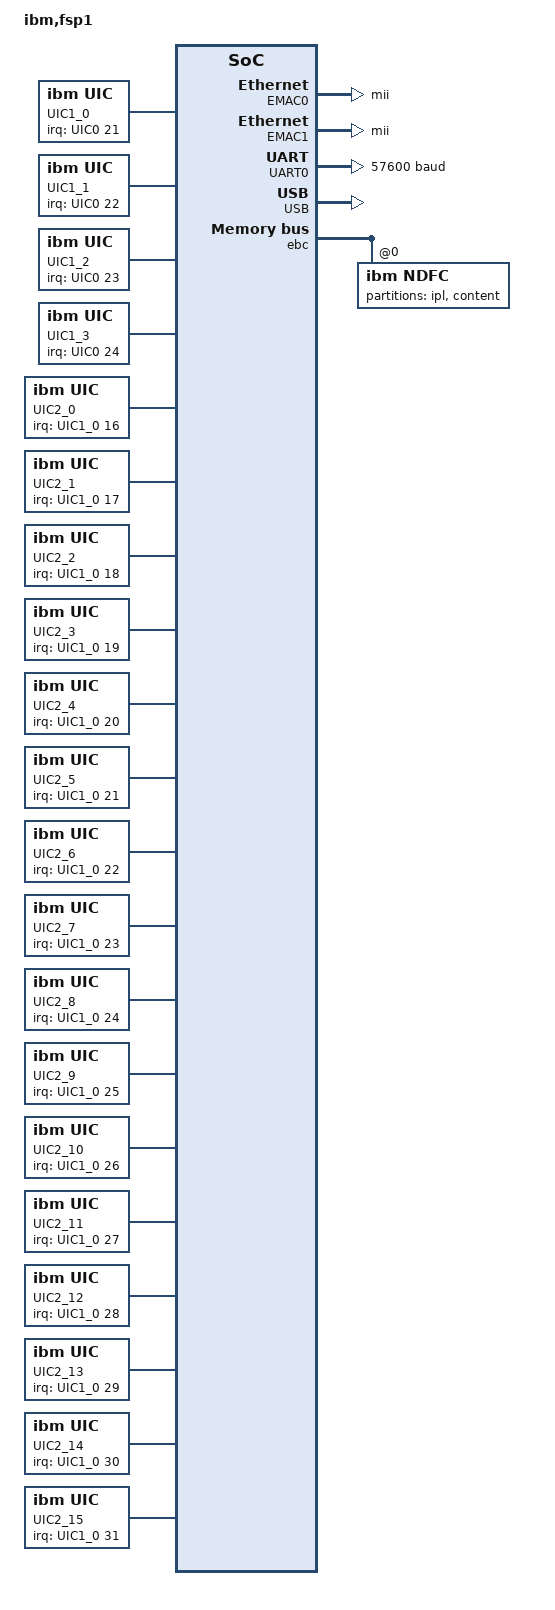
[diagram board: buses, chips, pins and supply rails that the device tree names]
/*
 *   Copyright (c) International Business Machines Corp., 2010, 2011
 *
 *   This program is free software;  you can redistribute it and/or modify
 *   it under the terms of the GNU General Public License as published by
 *   the Free Software Foundation; either version 2 of the License, or
 *   (at your option) any later version.
 *
 *   This program is distributed in the hope that it will be useful,
 *   but WITHOUT ANY WARRANTY;  without even the implied warranty of
 *   MERCHANTABILITY or FITNESS FOR A PARTICULAR PURPOSE.  See
 *   the GNU General Public License for more details.
 *
 *   You should have received a copy of the GNU General Public License
 *   along with this program;  if not, write to the Free Software
 *   Foundation, Inc., 59 Temple Place, Suite 330, Boston, MA 02111-1307 USA
 */

/dts-v1/;

/ {
	#address-cells = <2>;
	#size-cells = <1>;
	model = "ibm,fsp1";
	compatible = "ibm,fsp1";
	dcr-parent = <&{/cpus/cpu@0}>;

	aliases {
		ethernet0 = &EMAC0;
		ethernet1 = &EMAC1;
		serial0 = &UART0;
	};

	cpus {
		#address-cells = <1>;
		#size-cells = <0>;

		cpu@0 {
			device_type = "cpu";
			model = "PowerPC, 440FSP1";
			reg = <0x0>;
			clock-frequency = <500000000>; /* 500 MHz */
			timebase-frequency = <166666667>; /* 166 MHz */
			i-cache-line-size = <32>;
			d-cache-line-size = <32>;
			d-cache-size = <32768>;
			i-cache-size = <32768>;
			dcr-controller;
			dcr-access-method = "native";
		};
	};

	UIC0: uic0 {
		#address-cells = <0>;
		#size-cells = <0>;
		#interrupt-cells = <2>;
		compatible = "ibm,uic";
		interrupt-controller;
		cell-index = <0>;
		dcr-reg = <0x2c0 0x8>;
	};

	/* "interrupts" field is <bit level bit level>
	   first pair is non-critical, second is critical */
	UIC1_0: uic1_0 {
		#address-cells = <0>;
		#size-cells = <0>;
		#interrupt-cells = <2>;
		compatible = "ibm,uic";
		interrupt-controller;
		cell-index = <1>;
		dcr-reg = <0x2c8 0x8>;
		interrupt-parent = <&UIC0>;
		interrupts = <21 0x4 4 0x84>;
	};

	/* PSI and DMA */
	UIC1_1: uic1_1 {
		#address-cells = <0>;
		#size-cells = <0>;
		#interrupt-cells = <2>;
		compatible = "ibm,uic";
		interrupt-controller;
		cell-index = <2>;
		dcr-reg = <0x350 0x8>;
		interrupt-parent = <&UIC0>;
		interrupts = <22 0x4 5 0x84>;
	};

	/* Ethernet and USB */
	UIC1_2: uic1_2 {
		#address-cells = <0>;
		#size-cells = <0>;
		#interrupt-cells = <2>;
		compatible = "ibm,uic";
		interrupt-controller;
		cell-index = <3>;
		dcr-reg = <0x358 0x8>;
		interrupt-parent = <&UIC0>;
		interrupts = <23 0x4 6 0x84>;
	};

	/* Reserved for future use */
	UIC1_3: uic1_3 {
		#address-cells = <0>;
		#size-cells = <0>;
		#interrupt-cells = <2>;
		compatible = "ibm,uic";
		interrupt-controller;
		cell-index = <4>;
		dcr-reg = <0x360 0x8>;
		interrupt-parent = <&UIC0>;
		interrupts = <24 0x4 7 0x84>;
	};

	/* 2nd level UICs for FSI */
	UIC2_0: interrupt-controller2_0 {
		#address-cells = <0>;
		#size-cells = <0>;
		#interrupt-cells = <2>;
		compatible = "ibm,uic";
		interrupt-controller;
		cell-index = <5>;
		dcr-reg = <0x2d0 0x8>;
		interrupt-parent = <&UIC1_0>;
		interrupts = <16 0x4 0 0x84>;
	};

	UIC2_1: uic2_1 {
		#address-cells = <0>;
		#size-cells = <0>;
		#interrupt-cells = <2>;
		compatible = "ibm,uic";
		interrupt-controller;
		cell-index = <6>;
		dcr-reg = <0x2d8 0x8>;
		interrupt-parent = <&UIC1_0>;
		interrupts = <17 0x4 1 0x84>;
	};

	UIC2_2: uic2_2 {
		#address-cells = <0>;
		#size-cells = <0>;
		#interrupt-cells = <2>;
		compatible = "ibm,uic";
		interrupt-controller;
		cell-index = <7>;
		dcr-reg = <0x2e0 0x8>;
		interrupt-parent = <&UIC1_0>;
		interrupts = <18 0x4 2 0x84>;
	};

	UIC2_3: uic2_3 {
		#address-cells = <0>;
		#size-cells = <0>;
		#interrupt-cells = <2>;
		compatible = "ibm,uic";
		interrupt-controller;
		cell-index = <8>;
		dcr-reg = <0x2e8 0x8>;
		interrupt-parent = <&UIC1_0>;
		interrupts = <19 0x4 3 0x84>;
	};

	UIC2_4: uic2_4 {
		#address-cells = <0>;
		#size-cells = <0>;
		#interrupt-cells = <2>;
		compatible = "ibm,uic";
		interrupt-controller;
		cell-index = <9>;
		dcr-reg = <0x2f0 0x8>;
		interrupt-parent = <&UIC1_0>;
		interrupts = <20 0x4 4 0x84>;
	};

	UIC2_5: uic2_5 {
		#address-cells = <0>;
		#size-cells = <0>;
		#interrupt-cells = <2>;
		compatible = "ibm,uic";
		interrupt-controller;
		cell-index = <10>;
		dcr-reg = <0x2f8 0x8>;
		interrupt-parent = <&UIC1_0>;
		interrupts = <21 0x4 5 0x84>;
	};

	UIC2_6: uic2_6 {
		#address-cells = <0>;
		#size-cells = <0>;
		#interrupt-cells = <2>;
		compatible = "ibm,uic";
		interrupt-controller;
		cell-index = <11>;
		dcr-reg = <0x300 0x8>;
		interrupt-parent = <&UIC1_0>;
		interrupts = <22 0x4 6 0x84>;
	};

	UIC2_7: uic2_7 {
		#address-cells = <0>;
		#size-cells = <0>;
		#interrupt-cells = <2>;
		compatible = "ibm,uic";
		interrupt-controller;
		cell-index = <12>;
		dcr-reg = <0x308 0x8>;
		interrupt-parent = <&UIC1_0>;
		interrupts = <23 0x4 7 0x84>;
	};

	UIC2_8: uic2_8 {
		#address-cells = <0>;
		#size-cells = <0>;
		#interrupt-cells = <2>;
		compatible = "ibm,uic";
		interrupt-controller;
		cell-index = <13>;
		dcr-reg = <0x310 0x8>;
		interrupt-parent = <&UIC1_0>;
		interrupts = <24 0x4 8 0x84>;
	};

	UIC2_9: uic2_9 {
		#address-cells = <0>;
		#size-cells = <0>;
		#interrupt-cells = <2>;
		compatible = "ibm,uic";
		interrupt-controller;
		cell-index = <14>;
		dcr-reg = <0x318 0x8>;
		interrupt-parent = <&UIC1_0>;
		interrupts = <25 0x4 9 0x84>;
	};

	UIC2_10: uic2_10 {
		#address-cells = <0>;
		#size-cells = <0>;
		#interrupt-cells = <2>;
		compatible = "ibm,uic";
		interrupt-controller;
		cell-index = <15>;
		dcr-reg = <0x320 0x8>;
		interrupt-parent = <&UIC1_0>;
		interrupts = <26 0x4 10 0x84>;
	};

	UIC2_11: uic2_11 {
		#address-cells = <0>;
		#size-cells = <0>;
		#interrupt-cells = <2>;
		compatible = "ibm,uic";
		interrupt-controller;
		cell-index = <16>;
		dcr-reg = <0x328 0x8>;
		interrupt-parent = <&UIC1_0>;
		interrupts = <27 0x4 11 0x84>;
	};

	UIC2_12: uic2_12 {
		#address-cells = <0>;
		#size-cells = <0>;
		#interrupt-cells = <2>;
		compatible = "ibm,uic";
		interrupt-controller;
		cell-index = <17>;
		dcr-reg = <0x330 0x8>;
		interrupt-parent = <&UIC1_0>;
		interrupts = <28 0x4 12 0x84>;
	};

	UIC2_13: uic2_13 {
		#address-cells = <0>;
		#size-cells = <0>;
		#interrupt-cells = <2>;
		compatible = "ibm,uic";
		interrupt-controller;
		cell-index = <18>;
		dcr-reg = <0x338 0x8>;
		interrupt-parent = <&UIC1_0>;
		interrupts = <29 0x4 13 0x84>;
	};

	UIC2_14: uic2_14 {
		#address-cells = <0>;
		#size-cells = <0>;
		#interrupt-cells = <2>;
		compatible = "ibm,uic";
		interrupt-controller;
		cell-index = <19>;
		dcr-reg = <0x340 0x8>;
		interrupt-parent = <&UIC1_0>;
		interrupts = <30 0x4 14 0x84>;
	};

	UIC2_15: uic2_15 {
		#address-cells = <0>;
		#size-cells = <0>;
		#interrupt-cells = <2>;
		compatible = "ibm,uic";
		interrupt-controller;
		cell-index = <20>;
		dcr-reg = <0x348 0x8>;
		interrupt-parent = <&UIC1_0>;
		interrupts = <31 0x4 15 0x84>;
	};

	plb {
		compatible = "ibm,plb4";
		#address-cells = <2>;
		#size-cells = <1>;
		ranges;
		clock-frequency = <166666667>;

		/* Even though the RTC isn't on the plb, it won't be seen
		   unless it's a child node of the plb */
		RTC: rtc {
			device_type = "rtc";
			compatible = "ibm,rtc-fsp1";
			/* point it at the CMU, the RTC code knows how to do the
			indirect addressing required */
			dcr-reg = <0xc 0x2>;
			interrupt-parent = <&UIC0>;
			/* RTC compare interrupts 0 1 2 */
			interrupts = <28 0x4 29 0x4 30 0x4>;
		};

		buddy-reset-irq {
			compatible = "ibm,buddy-reset-irq";

			#interrupt-cells = <2>;
			interrupt-parent = <&UIC1_3>;
			interrupts = <3 0x84>;
		};

		plb-read-error-irq {
			compatible = "ibm,bus-error-irq";

			#interrupt-cells = <2>;
			interrupt-parent = <&UIC0>;
			interrupts = <0 0x81>;
		};

		plb-write-error-irq {
			compatible = "ibm,bus-error-irq";

			#interrupt-cells = <2>;
			interrupt-parent = <&UIC0>;
			interrupts = <1 0x81>;
		};

		plb-opb0-error-irq {
			compatible = "ibm,bus-error-irq";

			#interrupt-cells = <2>;
			interrupt-parent = <&UIC0>;
			interrupts = <15 0x84>;
		};

		plb-opb1-error-irq {
			compatible = "ibm,bus-error-irq";

			#interrupt-cells = <2>;
			interrupt-parent = <&UIC0>;
			interrupts = <16 0x84>;
		};

		plb-opb2-error-irq {
			compatible = "ibm,bus-error-irq";

			#interrupt-cells = <2>;
			interrupt-parent = <&UIC0>;
			interrupts = <17 0x84>;
		};

		plb-opb3-error-irq {
			compatible = "ibm,bus-error-irq";

			#interrupt-cells = <2>;
			interrupt-parent = <&UIC0>;
			interrupts = <18 0x84>;
		};

		opb-plb-error-irq {
			compatible = "ibm,bus-error-irq";

			#interrupt-cells = <2>;
			interrupt-parent = <&UIC0>;
			interrupts = <19 0x84>;
		};

		eddr2 {
			compatible = "ibm,eddr2";

			dcr-reg = <0x8 0x2>;

			#interrupt-cells = <2>;
			interrupt-parent = <&UIC0>;
			interrupts = </* UE */      8  0x84
				      /* CE */      11 0x4
				      /* SIE_UE */  12 0x84
				      /* SIE_CE */  13 0x4
				      /* SIE_OC */  14 0x4>;
		};

		MAL0: mcmal0 {
			#interrupt-cells = <1>;
			#address-cells = <0>;
			#size-cells = <0>;
			compatible = "ibm,mcmal";
			dcr-reg = <0x80 0x80>;
			num-tx-chans = <1>;
			num-rx-chans = <1>;
			interrupt-parent = <&MAL0>;
			interrupts = <0 1 2 3 4>;
			/* index interrupt-parent interrupt# type */
			interrupt-map = </*TXEOB*/ 0 &UIC1_2 4 0x4
					 /*RXEOB*/ 1 &UIC1_2 3 0x4
					 /*SERR*/  2 &UIC1_2 7 0x4
					 /*TXDE*/  3 &UIC1_2 5 0x4
					 /*RXDE*/  4 &UIC1_2 6 0x4>;
		};

		MAL1: mcmal1 {
			#interrupt-cells = <1>;
			#address-cells = <0>;
			#size-cells = <0>;
			compatible = "ibm,mcmal";
			dcr-reg = <0x100 0x80>;
			num-tx-chans = <1>;
			num-rx-chans = <1>;
			interrupt-parent = <&MAL1>;
			interrupts = <0 1 2 3 4>;
			/* index interrupt-parent interrupt# type */
			interrupt-map = </*TXEOB*/ 0 &UIC1_2 12 0x4
					 /*RXEOB*/ 1 &UIC1_2 11 0x4
					 /*SERR*/  2 &UIC1_2 15 0x4
					 /*TXDE*/  3 &UIC1_2 13 0x4
					 /*RXDE*/  4 &UIC1_2 14 0x4>;
		};

                PSI: psimaster {
			#interrupt-cells = <1>;
			#address-cells = <0>;
			#size-cells = <0>;
			compatible = "ibm,psi";

                        interrupt-parent = <&PSI>;
                        interrupts = <0 1 2 3>;
                        /* index interrupt-parent interrupt# type */
                        interrupt-map = </*Link 0*/ 0 &UIC1_1 1 0x4
					 /*Link 1*/ 1 &UIC1_1 2 0x4
					 /*Link 2*/ 2 &UIC1_1 3 0x4
					 /*Link 3*/ 3 &UIC1_1 4 0x4>;
		};

		MBX: zhost {
			#interrupt-cells = <1>;
			#address-cells = <0>;
			#size-cells = <0>;
			compatible = "ibm,psi-mbx";
			type = "ZHOST";
			interrupt-parent = <&MBX>;
			interrupts = <0 1 2 3>;
			/* index interrupt-parent interrupt# type */
			interrupt-map = </*Link 0*/ 0 &UIC1_3 8 0x4
					 /*Link 1*/ 1 &UIC1_3 9 0x4
					 /*Link 2*/ 2 &UIC1_3 10 0x4
					 /*Link 3*/ 3 &UIC1_3 11 0x4>;
		};

		EDMA0: dma.0 {
			#interrupt-cells = <1>;
			#address-cells = <0>;
			#size-cells = <0>;
			compatible = "ibm,edma";
			dcr-reg = <0x180 0x40>;
			channels = <4>;
			logical_id = <0>;
			type = "FSI";
			interrupt-parent = <&EDMA0>;
			interrupts = <0 1 2 3>;
			/* index interrupt-parent interrupt# type */
			interrupt-map = < /* chnl_0 */ 0 &UIC1_1  28 0x4
					  /* chnl_1 */ 1 &UIC1_1  29 0x4
					  /* chnl_2 */ 2 &UIC1_1  30 0x4
					  /* chnl_3 */ 3 &UIC1_1  31 0x4>;
		};

		EDMA1: dma.1 {
			#interrupt-cells = <1>;
			#address-cells = <0>;
			#size-cells = <0>;
			compatible = "ibm,edma";
			dcr-reg = <0x1C0 0x40>;
			channels = <4>;
			logical_id = <1>;
			type = "FSI";
			interrupt-parent = <&EDMA1>;
			interrupts = <0 1 2 3>;
			/* index interrupt-parent interrupt# type */
			interrupt-map = < /* chnl_0 */ 0 &UIC1_1  24 0x4
					  /* chnl_1 */ 1 &UIC1_1  25 0x4
					  /* chnl_2 */ 2 &UIC1_1  26 0x4
					  /* chnl_3 */ 3 &UIC1_1  27 0x4>;
		};

		EDMA2: dma.2 {
			#interrupt-cells = <1>;
			#address-cells = <0>;
			#size-cells = <0>;
			compatible = "ibm,edma";
			dcr-reg = <0x200 0x40>;
			channels = <4>;
			logical_id = <2>;
			type = "FSI";
			interrupt-parent = <&EDMA2>;
			interrupts = <0 1 2 3>;
			/* index interrupt-parent interrupt# type */
			interrupt-map = < /* chnl_0 */ 0 &UIC1_1  20 0x4
					  /* chnl_1 */ 1 &UIC1_1  21 0x4
					  /* chnl_2 */ 2 &UIC1_1  22 0x4
					  /* chnl_3 */ 3 &UIC1_1  23 0x4>;
		};

		EDMA3: dma.3 {
			#interrupt-cells = <1>;
			#address-cells = <0>;
			#size-cells = <0>;
			compatible = "ibm,edma";
			dcr-reg = <0x240 0x40>;
			channels = <4>;
			logical_id = <3>;
			type = "FSI";
			/* type = <DMA_FSI>; */
			interrupt-parent = <&EDMA3>;
			interrupts = <0 1 2 3>;
			/* index interrupt-parent interrupt# type */
			interrupt-map = < /* chnl_0 */ 0 &UIC1_1  16 0x4
					  /* chnl_1 */ 1 &UIC1_1  17 0x4
					  /* chnl_2 */ 2 &UIC1_1  18 0x4
					  /* chnl_3 */ 3 &UIC1_1  19 0x4>;
		};

		EDMA4: hostdma.0 {
			#interrupt-cells = <1>;
			#address-cells = <0>;
			#size-cells = <0>;
			compatible = "ibm,edma", "ibm,hostdma";
			dcr-reg = <0x280 0x40>;
			channels = <4>;
			logical_id = <4>;
			type = "PSI";
			/* type = <DMA_PSI>; */
			interrupt-parent = <&EDMA4>;
			interrupts = <0 1 2 3 4>;
			/* index interrupt-parent interrupt# type */
			interrupt-map = < /* chnl_0 */  0 &UIC1_1  12 0x4
					  /* chnl_1 */  1 &UIC1_1  13 0x4
					  /* chnl_2 */  2 &UIC1_1  14 0x4
					  /* chnl_3 */  3 &UIC1_1  15 0x4
					  /* HDCR_RW */ 4 &UIC0    26 0x4>;
		};

		EMAC0: ethernet@b0000000 {
			linux,network-index = <0>;
			device_type = "network";
			compatible = "ibm,emac4";
			has-inverted-stacr-oc;
			interrupt-parent = <&UIC1_2>;
			interrupts = <1 0x4 0 0x4>;
			reg = <0x0 0xb0000000 0x100>;
			local-mac-address = [000000000000];
			mal-device = <&MAL0>;
			mal-tx-channel = <0>;
			mal-rx-channel = <0>;
			cell-index = <0>;
			max-frame-size = <1500>;
			rx-fifo-size = <4096>;
			tx-fifo-size = <4096>;
			phy-address = <0>;
			phy-mode = "mii";
		};

		EMAC1: ethernet@b0000100 {
			linux,network-index = <1>;
			device_type = "network";
			compatible = "ibm,emac4";
			has-inverted-stacr-oc;
			interrupt-parent = <&UIC1_2>;
			interrupts = <9 0x4 8 0x4>;
			reg = <0x0 0xb0000100 0x100>;
			local-mac-address = [000000000000];
			mal-device = <&MAL1>;
			mal-tx-channel = <0>;
			mal-rx-channel = <0>;
			cell-index = <0>;
			max-frame-size = <1500>;
			rx-fifo-size = <4096>;
			tx-fifo-size = <4096>;
			phy-address = <0>;
			phy-mode = "mii";
		};

		FSI: fsimaster@b0014000 {
			compatible = "ibm,fsimaster";
			#interrupt-cells = <1>;
			#address-cells = <0>;
			reg = <0x0 0xb0014000 0x2e4>;
			interrupt-parent = <&FSI>;
			interrupts = <0 1 2>;
			interrupt-map =</*Port Err*/	0 &UIC0 2  0x4
					/*Master Err*/	1 &UIC0 3  0x4
					/*Plug Detect*/	2 &UIC0 27 0x4>;
			cfam-uics = <&UIC2_0 &UIC2_1 &UIC2_2 &UIC2_3
				     &UIC2_4 &UIC2_5 &UIC2_6 &UIC2_7
				     &UIC2_8 &UIC2_9 &UIC2_10 &UIC2_11
				     &UIC2_12 &UIC2_13 &UIC2_14
				     &UIC2_15>;
		};

                MAILBOX_HOSTIP: mbx@b0016000 {
			compatible = "ibm,mailbox";

			reg = <0x0 0xb0016000 0x03c0>;

			interrupt-parent = <&UIC1_1>;
			interrupts = <0 0x4>;
		};

		hdcr@b0016000 {
			compatible = "ibm,hdcr";

			reg = <0x0 0xb0016000 0x10>;

			interrupt-parent = <&UIC0>;
			interrupts = <26 0x1>;
		};

		UART0: serial@b0020000 {
			device_type = "serial";
			compatible = "ns16550";
			reg = <0x0 0xb0020000 0x8>;
			virtual-reg = <0xb0020000>;
			clock-frequency = <16666667>;
			current-speed = <57600>;
			interrupt-parent = <&UIC0>;
			interrupts = <31 0x4>;
		};

		USB: usb@b0021000 {
			compatible = "ibm,usb-ohci-440fsp1", "ohci-be";
			reg = <0x0 0xb0021000 0x200>;
			interrupt-parent = <&UIC1_2>;
			interrupts = <28 0x4>;
		};


		ebc {
			compatible = "ibm,ebc";
			#address-cells = <2>;
			#size-cells = <1>;
			ranges = <0x0 0xf0000000 0x1 0xf0000000 0x10000000>;
			dcr-reg = <0xe 0x2>;

			interrupt-parent = <&UIC0>;
			interrupts = <20 0x4>;

			ndfc@0,ffff0000 {
				compatible = "ibm,ndfc";
				reg = <0x0 0xffff0000 0x2000>;
				ccr = <0x00002004>;
				bank-settings = <0x80001111>;
				#address-cells = <1>;
				#size-cells = <1>;

				nand {
					#address-cells = <1>;
					#size-cells = <1>;

					partition@0 {
						label = "ipl";
						reg = <0x0 0x4000>;
					};

					partition@20000 {
						label = "content";
						reg = <0x20000 0x0>;
					};
				};
			};
		};
	};

	chosen {
		linux,stdout-path = "/plb/serial@b0020000";
		bootargs = "console=ttyS0,57600 rw log_buf_len=32768 debug";
	};
};
